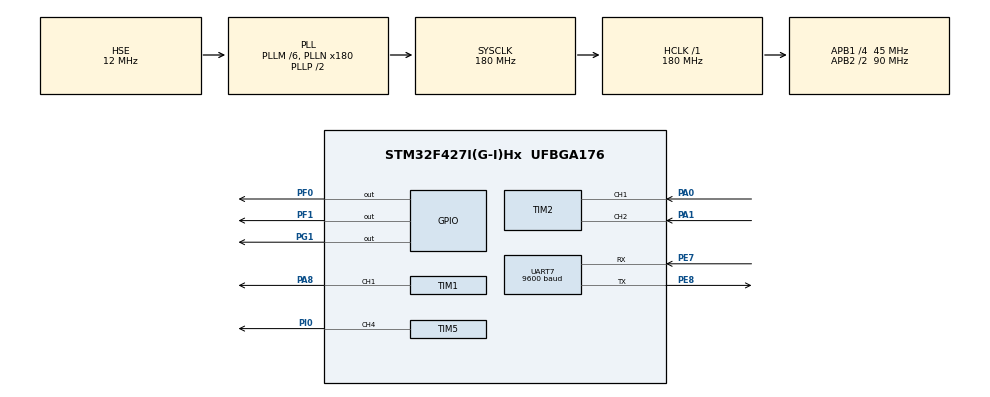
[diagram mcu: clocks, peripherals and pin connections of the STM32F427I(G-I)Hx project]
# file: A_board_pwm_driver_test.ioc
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Mcu.Family=STM32F4
Mcu.Name=STM32F427I(G-I)Hx
Mcu.Package=UFBGA176
NVIC.PriorityGroup=NVIC_PRIORITYGROUP_4
NVIC.TIM2_IRQn=true\:0\:0\:false\:false\:true\:true\:true\:true
NVIC.TIM6_DAC_IRQn=true\:2\:0\:true\:false\:true\:true\:true\:true
NVIC.UART7_IRQn=true\:0\:0\:false\:false\:true\:true\:true\:true
PA0/WKUP.Signal=S_TIM2_CH1_ETR
PA1.GPIO_Speed=GPIO_SPEED_FREQ_LOW
PA1.Signal=S_TIM2_CH2
PA13.Mode=Serial_Wire
PA13.Signal=SYS_JTMS-SWDIO
PA14.Mode=Serial_Wire
PA14.Signal=SYS_JTCK-SWCLK
PA8.Signal=S_TIM1_CH1
PC14/OSC32_IN.Mode=LSE-External-Oscillator
PC14/OSC32_IN.Signal=RCC_OSC32_IN
PC15/OSC32_OUT.Mode=LSE-External-Oscillator
PC15/OSC32_OUT.Signal=RCC_OSC32_OUT
PE7.Mode=Asynchronous
PE7.Signal=UART7_RX
PE8.Mode=Asynchronous
PE8.Signal=UART7_TX
PF0.GPIO_ModeDefaultOutputPP=GPIO_MODE_OUTPUT_OD
PF0.GPIO_PuPd=GPIO_PULLUP
PF0.GPIO_Speed=GPIO_SPEED_FREQ_HIGH
PF0.PinState=GPIO_PIN_SET
PF0.Signal=GPIO_Output
PF1.GPIO_ModeDefaultOutputPP=GPIO_MODE_OUTPUT_OD
PF1.GPIO_PuPd=GPIO_PULLUP
PF1.GPIO_Speed=GPIO_SPEED_FREQ_HIGH
PF1.PinState=GPIO_PIN_SET
PF1.Signal=GPIO_Output
PG1.PinState=GPIO_PIN_SET
PG1.Signal=GPIO_Output
PH0/OSC_IN.Mode=HSE-External-Oscillator
PH0/OSC_IN.Signal=RCC_OSC_IN
PH1/OSC_OUT.Mode=HSE-External-Oscillator
PH1/OSC_OUT.Signal=RCC_OSC_OUT
PI0.Signal=S_TIM5_CH4
ProjectManager.HeapSize=0x200
ProjectManager.StackSize=0x400
ProjectManager.TargetToolchain=CMake
RCC.48MHZClocksFreq_Value=90000000
RCC.AHBFreq_Value=180000000
RCC.APB1CLKDivider=RCC_HCLK_DIV4
RCC.APB1Freq_Value=45000000
RCC.APB1TimFreq_Value=90000000
RCC.APB2CLKDivider=RCC_HCLK_DIV2
RCC.APB2Freq_Value=90000000
RCC.APB2TimFreq_Value=180000000
RCC.CortexFreq_Value=180000000
RCC.HCLKFreq_Value=180000000
RCC.HSE_VALUE=12000000
RCC.HSI_VALUE=16000000
RCC.PLLM=6
RCC.PLLN=180
RCC.PLLSourceVirtual=RCC_PLLSOURCE_HSE
RCC.SYSCLKFreq_VALUE=180000000
RCC.SYSCLKSource=RCC_SYSCLKSOURCE_PLLCLK
RCC.VCOOutputFreq_Value=360000000
SH.S_TIM1_CH1.0=TIM1_CH1,PWM Generation1 CH1
SH.S_TIM2_CH1_ETR.0=TIM2_CH1,Encoder_Interface
SH.S_TIM2_CH2.0=TIM2_CH2,Encoder_Interface
SH.S_TIM5_CH4.0=TIM5_CH4,PWM Generation4 CH4
TIM1.Channel-PWM\ Generation1\ CH1=TIM_CHANNEL_1
TIM2.AutoReloadPreload=TIM_AUTORELOAD_PRELOAD_ENABLE
TIM2.EncoderMode=TIM_ENCODERMODE_TI12
TIM2.IC1Filter=15
TIM2.IC2Filter=15
TIM5.AutoReloadPreload=TIM_AUTORELOAD_PRELOAD_ENABLE
TIM5.Channel-PWM\ Generation4\ CH4=TIM_CHANNEL_4
TIM5.Period=20000
TIM5.Prescaler=89
TIM5.Pulse-PWM\ Generation4\ CH4=1500
TIM6.AutoReloadPreload=TIM_AUTORELOAD_PRELOAD_ENABLE
TIM6.Period=359
UART7.BaudRate=9600
UART7.VirtualMode=Asynchronous
VP_TIM5_VS_ClockSourceINT.Mode=Internal
VP_TIM6_VS_ClockSourceINT.Mode=Enable_Timer
board=custom

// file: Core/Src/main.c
/* USER CODE BEGIN Header */
/**
  ******************************************************************************
  * @file           : main.c
  * @brief          : Main program body
  ******************************************************************************
  * @attention
  *
  * Copyright (c) 2026 STMicroelectronics.
  * All rights reserved.
  *
  * This software is licensed under terms that can be found in the LICENSE file
  * in the root directory of this software component.
  * If no LICENSE file comes with this software, it is provided AS-IS.
  *
  ******************************************************************************
  */
/* USER CODE END Header */
#include "main.h"
#include "tim.h"
#include "usart.h"
#include "gpio.h"

/* USER CODE BEGIN Includes */
#include "driver/motor_bridge.h"
#include "driver/pwm.h"               // 需要 PWM_Handle 的完整定义
#include "driver/usergpio.h"
#include "driver/usergpio_platform.h"
#include "driver/uart.h"
#include "driver/uart_platform_ops.h"
#include "driver/uart_cmd_parser.h"
#include "common/ringbuf.h"
#include "useri2c_ops.h"
#include "imu_bridge.h"
#include "imu_uart_handler.h"
#include "oled_bridge.h"
#include "encoder.h"
#include <stdio.h>

/* USER CODE END Includes */

/* USER CODE BEGIN PV */

/* ---------- UART 调试串口 ---------- */
UART_Handle    uart_debug = {
    .huart      = &huart7,
    .ops        = &uart_platform_ops_stm32,
};

static RingBuffer g_ringbuf_debug;

I2C_SoftwareContext g_software_i2c = {
    .scl_pin = { .hgpio_port = GPIOF, .gpio_pin = 0,
                 .ops = &usergpio_platform_ops_stm32 },
    .sda_pin = { .hgpio_port = GPIOF, .gpio_pin = 1,
                 .ops = &usergpio_platform_ops_stm32 },
    .timer_handle = &htim6,
    .macro_state = I2C_MACRO_IDLE,
    .micro_state = I2C_MICRO_IDLE,
};

I2C_Handle g_i2c_dev = {
    .ops         = &i2c_software_platform_ops_stm32,
    .i2c_context = &g_software_i2c,
};

/* USER CODE END PV */

void SystemClock_Config(void);

int main(void)
{

  /* MCU Configuration--------------------------------------------------------*/

  /* Reset of all peripherals, Initializes the Flash interface and the Systick. */
  HAL_Init();

  /* Configure the system clock */
  SystemClock_Config();

  /* Initialize all configured peripherals */
  MX_GPIO_Init();
  MX_TIM5_Init();
  MX_TIM1_Init();
  MX_UART7_Init();
  MX_TIM6_Init();
  MX_TIM2_Init();
  /* USER CODE BEGIN 2 */

  /* ---- I2C 降速：ARR=899 → 10μs/tick (~50kHz) ---- */
  htim6.Init.Period = 899;
  HAL_TIM_Base_Init(&htim6);

  /* ---------- 启动 UART（回显测试） ---------- */
  ringbuf_init(&g_ringbuf_debug);
  uart_cmd_parser_init(&uart_debug, &g_ringbuf_debug);
  uart_receive_IT(&uart_debug, &uart_debug.rx_byte);

  /* 启动时发一条消息，串口助手看到说明 TX 通路正常 */
  uart_send(&uart_debug, (uint8_t *)"UART7 Ready!\r\n", 14);

  /* ---- OLED + 编码器初始化 ---- */
  oled_bridge_init();
  oled_bridge_show_string(0, 0, "ENC TEST");

  /* ---- 编码器测试 ---- */
  Encoder_Handle henc;
  henc.htim  = &htim2;
  henc.ops   = encoder_platform_get_ops();
  henc.ppr   = 1320;          // 填入你的编码器 PPR
  henc.position = 0;
  encoder_start(&henc);

  /* TODO: 调试指示灯
     心跳灯 — GPIO 控制, 500ms 翻转 (Systick 里或主循环定时), 证明主循环活着
     通信灯 — 收/发时翻转 GPIO, 证明串口通路正常
     两个 GPIO + 两个限流电阻即可, 调试时最保值的投入 */

#if 0   /* 电机部分暂时禁用，先验证串口 */
  // 电机测试：50% 占空比正转
  pwm_set_freq(&pwm_tim5_ch4, 20000);              // 电机 PWM 频率 20kHz
  pwm_start(&pwm_tim5_ch4);                        // 启动 PWM 输出

  motor_bridge_init(0, &pwm_tim5_ch4,
                    &motor_in1, &motor_in2, &motor_stby,
                    200.0f, 33.1f);

  motor_bridge_set_speed_rpm(0, 100);              // 50% 速度（200×50%=100 RPM）
#endif

  /* USER CODE END 2 */

  /* Infinite loop */
  while (1)
  {

    /* USER CODE BEGIN 3 */

    /* ---- 串口命令解析 ---- */
    uart_cmd_parser_tick();

    /* ---- 显示编码器 ---- */
    {
        static uint32_t t = 0;
        if (HAL_GetTick() - t >= 500) {
            t = HAL_GetTick();

            int32_t cnt = encoder_get_count(&henc);
            char b[17];
            snprintf(b, 17, "ENC:%d", (int)cnt);
            oled_bridge_show_string(1, 0, b);
        }
    }

  }
  /* USER CODE END 3 */
}

void SystemClock_Config(void)
{
  RCC_OscInitTypeDef RCC_OscInitStruct = {0};
  RCC_ClkInitTypeDef RCC_ClkInitStruct = {0};

  /** Configure the main internal regulator output voltage
  */
  __HAL_RCC_PWR_CLK_ENABLE();
  __HAL_PWR_VOLTAGESCALING_CONFIG(PWR_REGULATOR_VOLTAGE_SCALE1);

  /** Initializes the RCC Oscillators according to the specified parameters
  * in the RCC_OscInitTypeDef structure.
  */
  RCC_OscInitStruct.OscillatorType = RCC_OSCILLATORTYPE_HSE;
  RCC_OscInitStruct.HSEState = RCC_HSE_ON;
  RCC_OscInitStruct.PLL.PLLState = RCC_PLL_ON;
  RCC_OscInitStruct.PLL.PLLSource = RCC_PLLSOURCE_HSE;
  RCC_OscInitStruct.PLL.PLLM = 6;
  RCC_OscInitStruct.PLL.PLLN = 180;
  RCC_OscInitStruct.PLL.PLLP = RCC_PLLP_DIV2;
  RCC_OscInitStruct.PLL.PLLQ = 4;
  if (HAL_RCC_OscConfig(&RCC_OscInitStruct) != HAL_OK)
  {
    Error_Handler();
  }

  /** Activate the Over-Drive mode
  */
  if (HAL_PWREx_EnableOverDrive() != HAL_OK)
  {
    Error_Handler();
  }

  /** Initializes the CPU, AHB and APB buses clocks
  */
  RCC_ClkInitStruct.ClockType = RCC_CLOCKTYPE_HCLK|RCC_CLOCKTYPE_SYSCLK
                              |RCC_CLOCKTYPE_PCLK1|RCC_CLOCKTYPE_PCLK2;
  RCC_ClkInitStruct.SYSCLKSource = RCC_SYSCLKSOURCE_PLLCLK;
  RCC_ClkInitStruct.AHBCLKDivider = RCC_SYSCLK_DIV1;
  RCC_ClkInitStruct.APB1CLKDivider = RCC_HCLK_DIV4;
  RCC_ClkInitStruct.APB2CLKDivider = RCC_HCLK_DIV2;

  if (HAL_RCC_ClockConfig(&RCC_ClkInitStruct, FLASH_LATENCY_5) != HAL_OK)
  {
    Error_Handler();
  }
}

void Error_Handler(void)
{
  __disable_irq();
  while (1)
  {
  }
}
